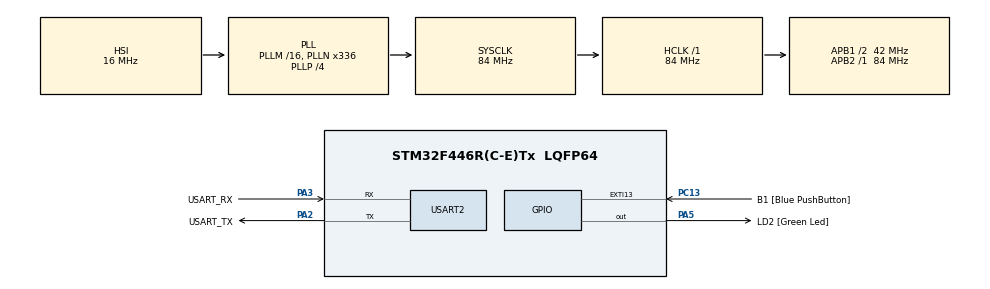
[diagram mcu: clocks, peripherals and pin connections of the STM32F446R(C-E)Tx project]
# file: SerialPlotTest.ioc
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Mcu.Family=STM32F4
Mcu.Name=STM32F446R(C-E)Tx
Mcu.Package=LQFP64
NVIC.PriorityGroup=NVIC_PRIORITYGROUP_0
NVIC.TIM1_TRG_COM_TIM11_IRQn=true\:0\:0\:false\:false\:true\:true\:true\:true
PA13.GPIO_Label=TMS
PA13.Mode=Serial_Wire
PA13.Signal=SYS_JTMS-SWDIO
PA14.GPIO_Label=TCK
PA14.Mode=Serial_Wire
PA14.Signal=SYS_JTCK-SWCLK
PA2.GPIO_Label=USART_TX
PA2.Mode=Asynchronous
PA2.Signal=USART2_TX
PA3.GPIO_Label=USART_RX
PA3.Mode=Asynchronous
PA3.Signal=USART2_RX
PA5.GPIO_Label=LD2 [Green Led]
PA5.Signal=GPIO_Output
PB3.GPIO_Label=SWO
PB3.Signal=SYS_JTDO-SWO
PC13.GPIO_Label=B1 [Blue PushButton]
PC13.GPIO_ModeDefaultEXTI=GPIO_MODE_IT_FALLING
PC13.Signal=GPXTI13
PC14-OSC32_IN.Mode=LSE-External-Oscillator
PC14-OSC32_IN.Signal=RCC_OSC32_IN
PC15-OSC32_OUT.Mode=LSE-External-Oscillator
PC15-OSC32_OUT.Signal=RCC_OSC32_OUT
PH0-OSC_IN.Mode=HSE-External-Oscillator
PH0-OSC_IN.Signal=RCC_OSC_IN
PH1-OSC_OUT.Mode=HSE-External-Oscillator
PH1-OSC_OUT.Signal=RCC_OSC_OUT
ProjectManager.HeapSize=0x200
ProjectManager.StackSize=0x400
ProjectManager.TargetToolchain=STM32CubeIDE
RCC.48MHZClocksFreq_Value=84000000
RCC.AHBFreq_Value=84000000
RCC.APB1CLKDivider=RCC_HCLK_DIV2
RCC.APB1Freq_Value=42000000
RCC.APB1TimFreq_Value=84000000
RCC.APB2Freq_Value=84000000
RCC.APB2TimFreq_Value=84000000
RCC.CortexFreq_Value=84000000
RCC.FLatency-AdvancedSettings=FLASH_LATENCY_2
RCC.HCLKFreq_Value=84000000
RCC.HSE_VALUE=8000000
RCC.HSI_VALUE=16000000
RCC.PLLN=336
RCC.PLLP=RCC_PLLP_DIV4
RCC.SYSCLKFreq_VALUE=84000000
RCC.SYSCLKSource=RCC_SYSCLKSOURCE_PLLCLK
RCC.USBFreq_Value=168000000
RCC.VCOOutputFreq_Value=336000000
TIM11.Period=1000-1
TIM11.Prescaler=84-1
USART2.VirtualMode=VM_ASYNC
VP_TIM11_VS_ClockSourceINT.Mode=Enable_Timer
board=NUCLEO-F446RE

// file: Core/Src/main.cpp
/* USER CODE BEGIN Header */
/**
  ******************************************************************************
  * @file           : main.c
  * @brief          : Main program body
  ******************************************************************************
  * @attention
  *
  * Copyright (c) 2023 STMicroelectronics.
  * All rights reserved.
  *
  * This software is licensed under terms that can be found in the LICENSE file
  * in the root directory of this software component.
  * If no LICENSE file comes with this software, it is provided AS-IS.
  *
  ******************************************************************************
  */
/* USER CODE END Header */
#include "main.h"
#include "tim.h"
#include "usart.h"
#include "gpio.h"

/* USER CODE BEGIN Includes */
#include "hal_plotting.h"
/* USER CODE END Includes */

void SystemClock_Config(void);

/* USER CODE BEGIN 0 */

unsigned int uiFlag_50ms = 0;
void HAL_TIM_PeriodElapsedCallback(TIM_HandleTypeDef* htim)
{
	if(htim == &htim11)
	{
		uiFlag_50ms++;
	}
}

/* USER CODE END 0 */

int main(void)
{
  /* USER CODE BEGIN 1 */

	uint8_t count = 0;
	Plotting plot;

  /* USER CODE END 1 */

  /* MCU Configuration--------------------------------------------------------*/

  /* Reset of all peripherals, Initializes the Flash interface and the Systick. */
  HAL_Init();

  /* Configure the system clock */
  SystemClock_Config();

  /* Initialize all configured peripherals */
  MX_GPIO_Init();
  MX_USART2_UART_Init();
  MX_TIM11_Init();
  /* USER CODE BEGIN 2 */

  HAL_TIM_Base_Start_IT(&htim11);
  /* USER CODE END 2 */

  /* Infinite loop */
  while (1)
  {

    /* USER CODE BEGIN 3 */

	  if(uiFlag_50ms>=50) {
		  HAL_GPIO_TogglePin(LD2_GPIO_Port, LD2_Pin);		// for debugging

		  count++;

		  uiFlag_50ms=0;

		  // clear plotting buffer
		  plot.reset();
		  plot.put(count ,0);
		  plot.put(35, 1);
		  plot.send(&huart2);

	  }

	  /*
	  plot.reset();
	  plot.put(count++ ,0);
	  plot.put(35, 1);
	  plot.send(&huart2);
	  HAL_Delay(10);
	  */
  }
  /* USER CODE END 3 */
}

void SystemClock_Config(void)
{
  RCC_OscInitTypeDef RCC_OscInitStruct = {0};
  RCC_ClkInitTypeDef RCC_ClkInitStruct = {0};

  /** Configure the main internal regulator output voltage
  */
  __HAL_RCC_PWR_CLK_ENABLE();
  __HAL_PWR_VOLTAGESCALING_CONFIG(PWR_REGULATOR_VOLTAGE_SCALE3);

  /** Initializes the RCC Oscillators according to the specified parameters
  * in the RCC_OscInitTypeDef structure.
  */
  RCC_OscInitStruct.OscillatorType = RCC_OSCILLATORTYPE_HSI;
  RCC_OscInitStruct.HSIState = RCC_HSI_ON;
  RCC_OscInitStruct.HSICalibrationValue = RCC_HSICALIBRATION_DEFAULT;
  RCC_OscInitStruct.PLL.PLLState = RCC_PLL_ON;
  RCC_OscInitStruct.PLL.PLLSource = RCC_PLLSOURCE_HSI;
  RCC_OscInitStruct.PLL.PLLM = 16;
  RCC_OscInitStruct.PLL.PLLN = 336;
  RCC_OscInitStruct.PLL.PLLP = RCC_PLLP_DIV4;
  RCC_OscInitStruct.PLL.PLLQ = 2;
  RCC_OscInitStruct.PLL.PLLR = 2;
  if (HAL_RCC_OscConfig(&RCC_OscInitStruct) != HAL_OK)
  {
    Error_Handler();
  }

  /** Initializes the CPU, AHB and APB buses clocks
  */
  RCC_ClkInitStruct.ClockType = RCC_CLOCKTYPE_HCLK|RCC_CLOCKTYPE_SYSCLK
                              |RCC_CLOCKTYPE_PCLK1|RCC_CLOCKTYPE_PCLK2;
  RCC_ClkInitStruct.SYSCLKSource = RCC_SYSCLKSOURCE_PLLCLK;
  RCC_ClkInitStruct.AHBCLKDivider = RCC_SYSCLK_DIV1;
  RCC_ClkInitStruct.APB1CLKDivider = RCC_HCLK_DIV2;
  RCC_ClkInitStruct.APB2CLKDivider = RCC_HCLK_DIV1;

  if (HAL_RCC_ClockConfig(&RCC_ClkInitStruct, FLASH_LATENCY_2) != HAL_OK)
  {
    Error_Handler();
  }
}

void Error_Handler(void)
{
  __disable_irq();
  while (1)
  {
  }
}
